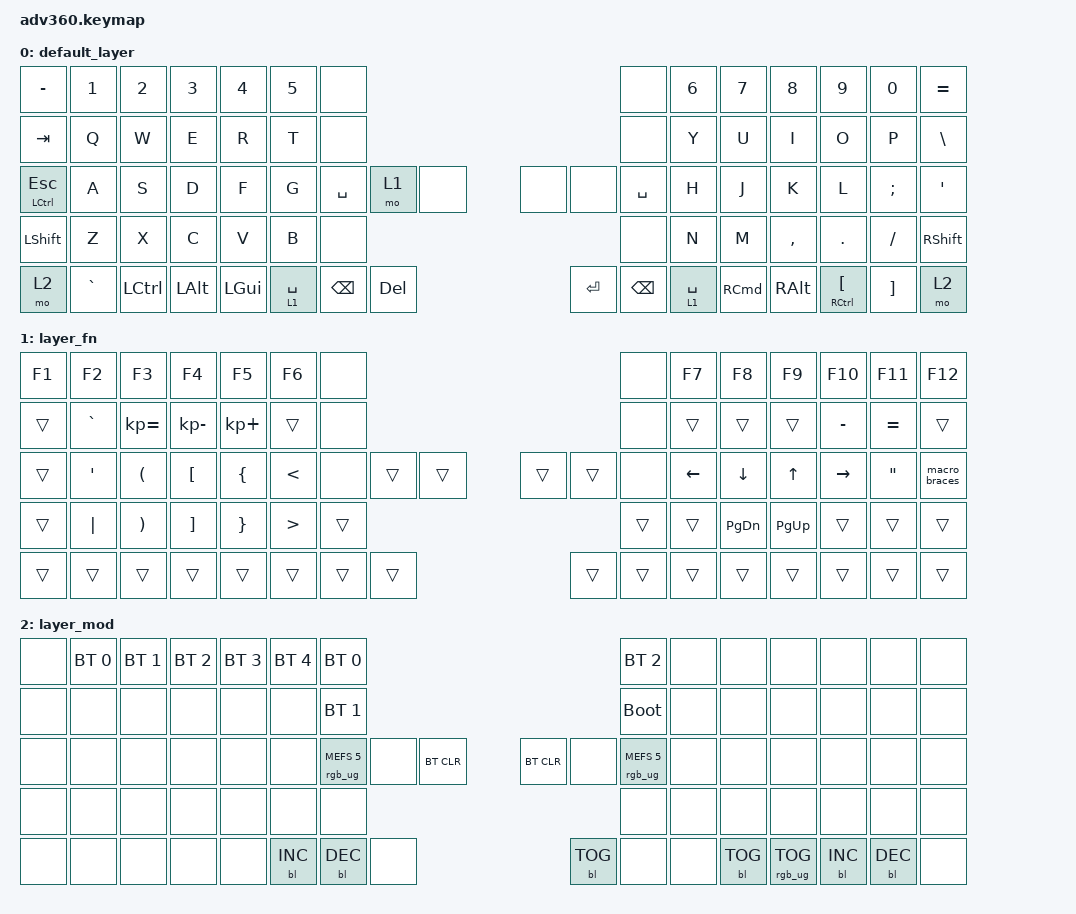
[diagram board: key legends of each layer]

/*
 * Copyright (c) 2020 The ZMK Contributors
 *
 * SPDX-License-Identifier: MIT
 */


/* THIS FILE WAS GENERATED!
 *
 * This file was generated automatically. You may or may not want to
 * edit it directly.
 */

#include <behaviors.dtsi>
#include <dt-bindings/zmk/keys.h>
#include <dt-bindings/zmk/bt.h>
#include <dt-bindings/zmk/rgb.h>
#include <dt-bindings/zmk/backlight.h>

/ {
  behaviors {
    #include "macros.dtsi"

    hm: homerow_mods {
        compatible = "zmk,behavior-hold-tap";
        label = "HOMEROW_MODS";
        #binding-cells = <2>;
        tapping-term-ms = <200>;
        quick_tap_ms = <175>;
        flavor = "tap-preferred";
        bindings = <&kp>, <&kp>;
    };
  };
  combos {
        compatible = "zmk,combos";
        combo_tab {
            timeout-ms = <60>;
            key-positions = <16 17>;
            bindings = <&kp TAB>;
        };
        combo_bksp {
            timeout-ms = <60>;
            key-positions = <24 25>;
            bindings = <&kp BACKSPACE>;
        };
        combo_esc {
            timeout-ms = <60>;
            key-positions = <30 31>;
            bindings = <&kp ESC>;
        };
        combo_entr {
            timeout-ms = <60>;
            key-positions = <42 43>;
            bindings = <&kp ENTER>;
        };
        combo_lshft {
            timeout-ms = <60>;
            key-positions = <48 49>;
            bindings = <&kp LEFT_SHIFT>;
        };
        combo_rshft {
            timeout-ms = <60>;
            key-positions = <56 57>;
            bindings = <&kp RIGHT_SHIFT>;
        };
        combo_lleader {
            timeout-ms = <60>;
            key-positions = <31 32>;
            bindings = <&kp M>;
        };
        combo_rleader {
            timeout-ms = <60>;
            key-positions = <41 42>;
            bindings = <&kp M>;
        };
  };
    keymap {
        compatible = "zmk,keymap";


        default_layer {
            bindings = <
     &kp MINUS     &kp N1     &kp N2    &kp N3    &kp N4  &kp N5                  &none                                                                        &none  &kp N6    &kp N7     &kp N8                  &kp N9    &kp N0  &kp EQUAL
       &kp TAB      &kp Q      &kp W     &kp E     &kp R   &kp T                  &none                                                                        &none   &kp Y     &kp U      &kp I                   &kp O     &kp P   &kp BSLH
 &mt LCTRL ESC      &kp A      &kp S     &kp D     &kp F   &kp G              &kp SPACE          &mo 1    &none                      &none        &none    &kp SPACE   &kp H     &kp J      &kp K                   &kp L  &kp SEMI    &kp SQT
     &kp LSHFT      &kp Z      &kp X     &kp C     &kp V   &kp B                                          &none                      &none                             &kp N     &kp M  &kp COMMA                 &kp DOT  &kp FSLH  &kp RSHFT
         &mo 2  &kp GRAVE  &kp LCTRL  &kp LALT  &kp LGUI                    &lt 1 SPACE  &kp BACKSPACE  &kp DEL                  &kp ENTER  &kp BACKSPACE  &lt 1 SPACE          &kp RCMD   &kp RALT  &mt RCTRL LEFT_BRACKET  &kp RBKT      &mo 2
            >;
        };

        layer_fn {
            bindings = <
 &kp F1            &kp F2                 &kp F3             &kp F4           &kp F5            &kp F6             &none                                                   &none    &kp F7         &kp F8     &kp F9    &kp F10            &kp F11        &kp F12
 &trans         &kp GRAVE           &kp KP_EQUAL       &kp KP_MINUS      &kp KP_PLUS            &trans             &none                                                   &none    &trans         &trans     &trans  &kp MINUS          &kp EQUAL         &trans
 &trans  &kp SINGLE_QUOTE   &kp LEFT_PARENTHESIS   &kp LEFT_BRACKET   &kp LEFT_BRACE     &kp LESS_THAN             &none  &trans  &trans                  &trans  &trans   &none  &kp LEFT       &kp DOWN     &kp UP  &kp RIGHT  &kp DOUBLE_QUOTES  &macro_braces
 &trans          &kp PIPE  &kp RIGHT_PARENTHESIS  &kp RIGHT_BRACKET  &kp RIGHT_BRACE  &kp GREATER_THAN                            &trans                  &trans                    &trans  &kp PAGE_DOWN  &kp PG_UP     &trans             &trans         &trans
 &trans            &trans                 &trans             &trans           &trans                              &trans  &trans  &trans                  &trans  &trans  &trans                   &trans     &trans     &trans             &trans         &trans
            >;
        };

        layer_mod {
            bindings = <
  &none  &bt BT_SEL 0  &bt BT_SEL 1  &bt BT_SEL 2  &bt BT_SEL 3  &bt BT_SEL 4                      &bt BT_SEL 0                                                                        &bt BT_SEL 2   &none       &none            &none       &none       &none   &none
  &none         &none         &none         &none         &none         &none                      &bt BT_SEL 1                                                                         &bootloader   &none       &none            &none       &none       &none   &none
  &none         &none         &none         &none         &none         &none            &rgb_ug RGB_MEFS_CMD 5       &none  &bt BT_CLR                  &bt BT_CLR   &none  &rgb_ug RGB_MEFS_CMD 5   &none       &none            &none       &none       &none   &none
  &none         &none         &none         &none         &none         &none                                                     &none                       &none                                   &none       &none            &none       &none       &none   &none
  &none         &none         &none         &none         &none                                      &bl BL_INC  &bl BL_DEC       &none                  &bl BL_TOG   &none                   &none          &bl BL_TOG  &rgb_ug RGB_TOG  &bl BL_INC  &bl BL_DEC   &none
            >;
        };

    };
};
